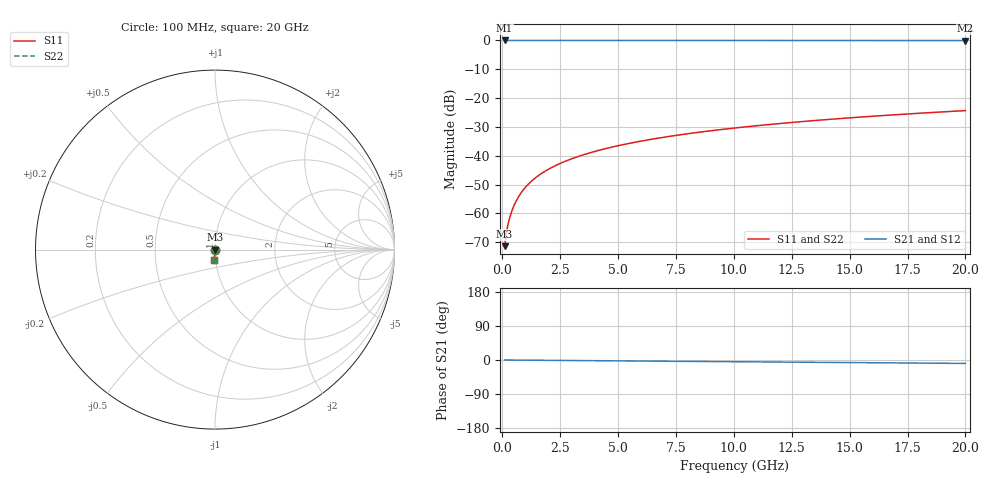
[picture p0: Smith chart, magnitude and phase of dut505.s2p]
! Touchstone file exported from HFSS 2026.1.0
!  File:  C:/ffzhzh/LocalFiles/Ansys_Project_Files/temp_train_TSV_505_1783023177_53980.aedt
!  Generated:  04:14:30 AM Jul  3, 2026
!  Design:  TSV
!  Project:  temp_train_TSV_505_1783023177_53980
! Variables:
!  h_bsmrdl = 2um
!  h_ox = 20um
!  h_rdl = 5um
!  h_sub = 87.87um
!  h_tmrdl = 5um
!  h_tsv = 87.87um
!  h_via = 3um
!  l_bsmrdl = 300um
!  l_sub = 427.36um
!  l_tmrdl = 200um
!  m_sub = 200um
!  pitch = 39.13um
!  r_tsv = 13.68um
!  s_tmrdl = 10um
!  w_bsmrdl = 18um
!  w_sub = 500um
!  w_tmrdl = 12um
!  x_tsv_center1 = 206um
!  x_tsv_center2 = 524um
!  x_tsv_center3 = 736um
!  x_tsv_center4 = 1054um
!  x_tsv_center5 = 1266um
!  x_tsv_center6 = 1584um
# GHz S MA R 50.000000
! Terminal data exported
! Port[1] = TSV1_1_T1
! Port[2] = TSV1_1_T2
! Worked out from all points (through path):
!   200 points, 100 MHz to 20 GHz, reference 50 ohm
!   highest |S21| = 0.00 dB at 100 MHz (marker M1); lowest = 0.0 dB at 20 GHz (marker M2)
!   group delay of S21, straight-line fit = 1.25 ps
!   lowest |S11| = -71.4 dB at 100 MHz (marker M3), VSWR 1.00, Z = 50 - j0.0253 ohm
!   |S11| at or under -10 dB: start of sweep to end of sweep
!   |S22| runs from -71.4 to -24.3 dB; largest |S21 - S12| = 4e-15
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0.1  0.0002698 -69.8  0.9999 -0.0  0.9999 -0.0  0.0002698 -69.8
! Gamma 0 0 0 0
! Port Impedance 50 0 50 0
0.2  0.0005231 -77.9  0.9999 -0.1  0.9999 -0.1  0.0005231 -77.9
0.3  0.0007893 -80.2  0.9999 -0.1  0.9999 -0.1  0.0007893 -80.2
0.4  0.001066 -81.3  0.9998 -0.2  0.9998 -0.2  0.001066 -81.3
0.5  0.00135 -82.0  0.9998 -0.2  0.9998 -0.2  0.00135 -82.0
0.7  0.001936 -83.0  0.9998 -0.3  0.9998 -0.3  0.001936 -83.0
0.8  0.002234 -83.5  0.9997 -0.4  0.9997 -0.4  0.002234 -83.5
1  0.002835 -84.3  0.9997 -0.5  0.9997 -0.5  0.002835 -84.3
1.2  0.003438 -85.0  0.9997 -0.6  0.9997 -0.6  0.003438 -85.0
1.4  0.004041 -85.6  0.9996 -0.6  0.9996 -0.6  0.004041 -85.6
1.7  0.004946 -86.3  0.9996 -0.8  0.9996 -0.8  0.004946 -86.3
2  0.00585 -86.9  0.9996 -0.9  0.9996 -0.9  0.00585 -86.9
2.7  0.00796 -87.9  0.9995 -1.2  0.9995 -1.2  0.00796 -87.9
3.5  0.01037 -88.7  0.9994 -1.6  0.9994 -1.6  0.01037 -88.7
4.2  0.01249 -89.3  0.9994 -1.9  0.9994 -1.9  0.01249 -89.3
5  0.01492 -89.9  0.9993 -2.3  0.9993 -2.3  0.01492 -89.9
6.8  0.0204 -91.0  0.9991 -3.1  0.9991 -3.1  0.0204 -91.0
8.3  0.02498 -91.9  0.9989 -3.8  0.9989 -3.8  0.02498 -91.9
10.1  0.03048 -92.9  0.9986 -4.6  0.9986 -4.6  0.03048 -92.9
13.4  0.04055 -94.6  0.9981 -6.1  0.9981 -6.1  0.04055 -94.6
16.7  0.05061 -96.3  0.9976 -7.6  0.9976 -7.6  0.05061 -96.3
20  0.06065 -97.8  0.9969 -9.0  0.9969 -9.0  0.06065 -97.8
